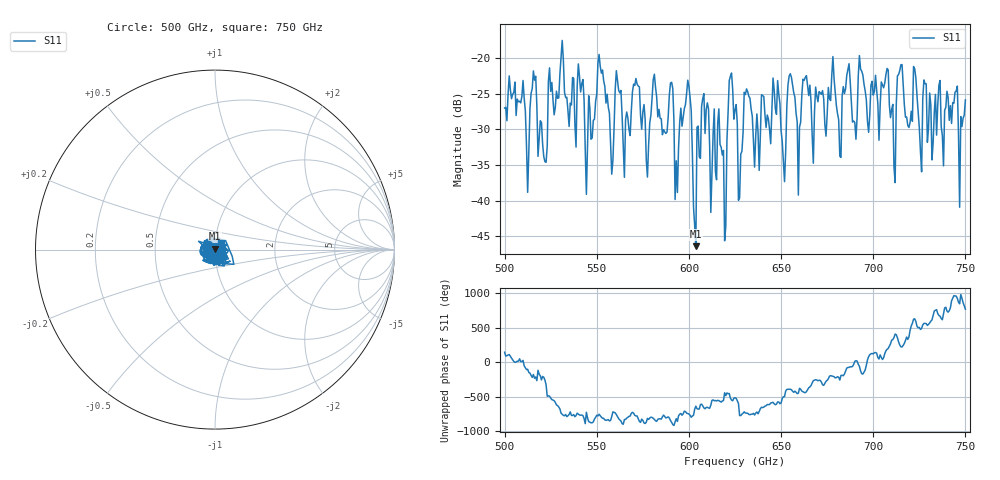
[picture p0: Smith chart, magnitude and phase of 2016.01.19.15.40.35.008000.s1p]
!Created with skrf (http://scikit-rf.org).
# GHz S RI R 50.0
!freq ReS11 ImS11
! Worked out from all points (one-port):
!   401 points, 500 GHz to 750 GHz, reference 50 ohm
!   lowest |S11| = -46.4 dB at 603.8 GHz (marker M1), VSWR 1.01, Z = 50.1 + j0.471 ohm
!   |S11| at or under -10 dB: start of sweep to end of sweep
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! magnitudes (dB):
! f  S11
! 500 GHz  -27.0
! 512.5 GHz  -38.8
! 515.6 GHz  -21.8
! 521.9 GHz  -34.5
! 531.2 GHz  -17.5
! 545 GHz  -32.5
! 551.9 GHz  -21.1
! 558.1 GHz  -36.3
! 562.5 GHz  -24.9
! 577.5 GHz  -36.7
! 590.6 GHz  -23.4
! 593.8 GHz  -38.9
! 600 GHz  -24.0
! 603.8 GHz  -46.4
! 608.1 GHz  -25.0
! 618.8 GHz  -33.0
! 622.5 GHz  -22.5
! 625 GHz  -27.3
! 628.1 GHz  -33.5
! 631.2 GHz  -24.3
! 651.2 GHz  -34.4
! 656.2 GHz  -23.8
! 659.4 GHz  -39.2
! 663.1 GHz  -22.7
! 687.5 GHz  -23.2
! 714.4 GHz  -21.8
! 718.8 GHz  -29.4
! 750 GHz  -25.9
